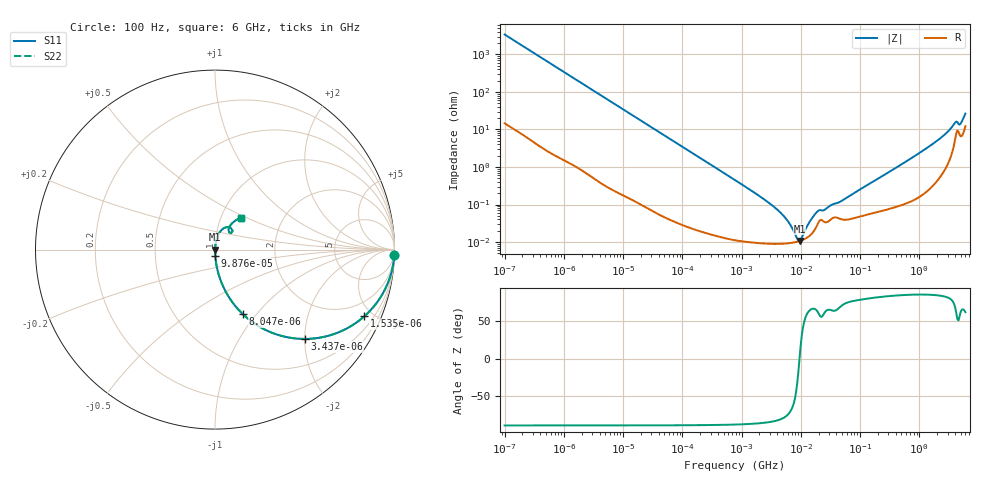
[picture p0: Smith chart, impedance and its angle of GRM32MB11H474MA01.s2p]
!Murata Part Number: GRM32MB11H474MA01
!These Parameters are Measured in Series Mode Connection
!Data Generated on Mar 30, 2021
!  o--ll--o
!Port1  Port2
!  o------o
!Operation Temp=25[degC], DC Bias Voltage=0[V]
!Freq. Start=100[Hz] Stop=6[GHz] 401[Steps]
# Hz S RI R 50
!Freq.(Hz) S11(Real) S11(Imag) S21(Real) S21(Imag) S12(Real) S12(Imag) S22(Real) S22(Imag)
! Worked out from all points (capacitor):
!   401 points, 100 Hz to 6 GHz, reference 50 ohm
!   read as one part in series: C = 467 nF near 109 Hz
!   lowest |Z| = 10.7 mohm at 9.506 MHz (marker M1)
!   series resonance near 9.501 MHz, so ESL is about 600 pH
!   S11 on the Smith chart (normalised r, x): 100 Hz: 1, -68; 1.535 kHz: 1.02, -4.47; 3.437 kHz: 1.01, -2.00; 8.047 kHz: 1.00, -0.86; 98.76 kHz: 1.00, -0.07; 6 GHz: 1.25, +0.47
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100  0.999 -0.0293  0.000988 0.0293  0.000988 0.0293  0.999 -0.0293
458  0.9818 -0.1316  0.0182 0.1316  0.0182 0.1316  0.9818 -0.1316
1535  0.8318 -0.3717  0.1682 0.3717  0.1682 0.3717  0.8318 -0.3717
2008  0.7439 -0.4341  0.2561 0.4341  0.2561 0.4341  0.7439 -0.4341
3437  0.5001 -0.4977  0.4999 0.4977  0.4999 0.4977  0.5001 -0.4977
8047  0.1561 -0.3605  0.8439 0.3605  0.8439 0.3605  0.1561 -0.3605
15062  0.051 -0.2172  0.949 0.2172  0.949 0.2172  0.051 -0.2172
40335  0.00785 -0.0851  0.9922 0.0851  0.9922 0.0851  0.00785 -0.0851
98762  0.00152 -0.0351  0.9985 0.0351  0.9985 0.0351  0.00152 -0.0351
774597  0.000132 -0.00449  0.9999 0.00449  0.9999 0.00449  0.000132 -0.00449
4246196  8.99e-05 -0.000668  0.9999 0.000668  0.9999 0.000668  8.99e-05 -0.000668
6075234  9.27e-05 -0.000346  0.9999 0.000346  0.9999 0.000346  9.27e-05 -0.000346
8692127  0.000102 -6.73e-05  0.9999 6.73e-05  0.9999 6.73e-05  0.000102 -6.73e-05
9506416  0.000107 4e-07  0.9999 -4e-07  0.9999 -4e-07  0.000107 4e-07
1.555665e7  0.000172 0.000404  0.9998 -0.000404  0.9998 -0.000404  0.000172 0.000404
1.946e7  0.000313 0.000597  0.9997 -0.000597  0.9997 -0.000597  0.000313 0.000597
4.764863e7  0.000409 0.00115  0.9996 -0.00115  0.9996 -0.00115  0.000409 0.00115
3.124326e8  0.00082 0.0074  0.9992 -0.0074  0.9992 -0.0074  0.00082 0.0074
1.791126e9  0.00538 0.0437  0.9946 -0.0437  0.9946 -0.0437  0.00538 0.0437
4.009986e9  0.0672 0.1258  0.9328 -0.1258  0.9328 -0.1258  0.0672 0.1258
5.016141e9  0.0753 0.1126  0.9247 -0.1126  0.9247 -0.1126  0.0753 0.1126
6e9  0.1467 0.1788  0.8533 -0.1788  0.8533 -0.1788  0.1467 0.1788
